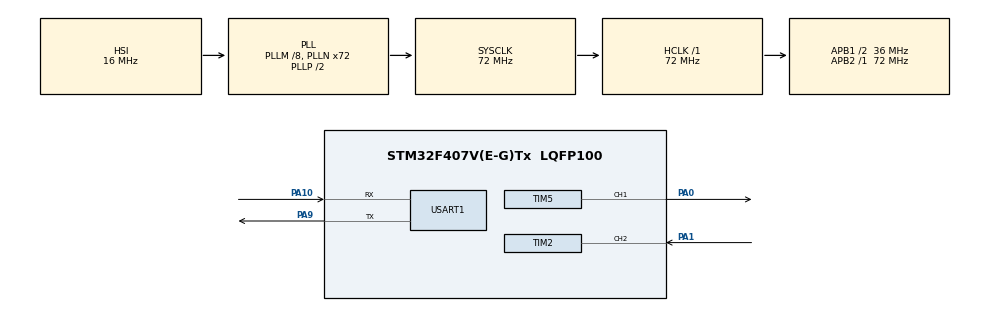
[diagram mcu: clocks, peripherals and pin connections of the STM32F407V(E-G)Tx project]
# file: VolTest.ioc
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Dma.Request0=USART1_RX
Dma.Request1=USART1_TX
Dma.USART1_RX.0.Direction=DMA_PERIPH_TO_MEMORY
Dma.USART1_RX.0.FIFOMode=DMA_FIFOMODE_DISABLE
Dma.USART1_RX.0.Instance=DMA2_Stream2
Dma.USART1_RX.0.MemDataAlignment=DMA_MDATAALIGN_BYTE
Dma.USART1_RX.0.MemInc=DMA_MINC_ENABLE
Dma.USART1_RX.0.Mode=DMA_NORMAL
Dma.USART1_RX.0.PeriphDataAlignment=DMA_PDATAALIGN_BYTE
Dma.USART1_RX.0.PeriphInc=DMA_PINC_DISABLE
Dma.USART1_RX.0.Priority=DMA_PRIORITY_LOW
Dma.USART1_TX.1.Direction=DMA_MEMORY_TO_PERIPH
Dma.USART1_TX.1.FIFOMode=DMA_FIFOMODE_DISABLE
Dma.USART1_TX.1.Instance=DMA2_Stream7
Dma.USART1_TX.1.MemDataAlignment=DMA_MDATAALIGN_BYTE
Dma.USART1_TX.1.MemInc=DMA_MINC_ENABLE
Dma.USART1_TX.1.Mode=DMA_NORMAL
Dma.USART1_TX.1.PeriphDataAlignment=DMA_PDATAALIGN_BYTE
Dma.USART1_TX.1.PeriphInc=DMA_PINC_DISABLE
Dma.USART1_TX.1.Priority=DMA_PRIORITY_LOW
Mcu.Family=STM32F4
Mcu.Name=STM32F407V(E-G)Tx
Mcu.Package=LQFP100
NVIC.DMA2_Stream2_IRQn=true\:0\:0\:false\:false\:true\:false\:true\:true
NVIC.DMA2_Stream7_IRQn=true\:0\:0\:false\:false\:true\:false\:true\:true
NVIC.PriorityGroup=NVIC_PRIORITYGROUP_4
NVIC.TIM2_IRQn=true\:0\:0\:false\:false\:true\:true\:true\:true
NVIC.USART1_IRQn=true\:0\:0\:false\:false\:true\:true\:true\:true
PA0-WKUP.Signal=S_TIM5_CH1
PA1.Signal=S_TIM2_CH2
PA10.Mode=Asynchronous
PA10.Signal=USART1_RX
PA13.Mode=Serial_Wire
PA13.Signal=SYS_JTMS-SWDIO
PA14.Mode=Serial_Wire
PA14.Signal=SYS_JTCK-SWCLK
PA9.Mode=Asynchronous
PA9.Signal=USART1_TX
ProjectManager.HeapSize=0x200
ProjectManager.StackSize=0x400
ProjectManager.TargetToolchain=STM32CubeIDE
RCC.48MHZClocksFreq_Value=36000000
RCC.AHBFreq_Value=72000000
RCC.APB1CLKDivider=RCC_HCLK_DIV2
RCC.APB1Freq_Value=36000000
RCC.APB1TimFreq_Value=72000000
RCC.APB2Freq_Value=72000000
RCC.APB2TimFreq_Value=72000000
RCC.CortexFreq_Value=72000000
RCC.HCLKFreq_Value=72000000
RCC.HSE_VALUE=25000000
RCC.HSI_VALUE=16000000
RCC.LSE_VALUE=32768
RCC.PLLM=8
RCC.PLLN=72
RCC.SYSCLKFreq_VALUE=72000000
RCC.SYSCLKSource=RCC_SYSCLKSOURCE_PLLCLK
RCC.VCOOutputFreq_Value=144000000
SH.S_TIM2_CH2.0=TIM2_CH2,PWM_Input_2
SH.S_TIM5_CH1.0=TIM5_CH1,PWM Generation1 CH1
TIM2.ICPolarity_1=TIM_INPUTCHANNELPOLARITY_FALLING
TIM2.Period=65535
TIM2.Prescaler=72-1
TIM5.Channel-PWM\ Generation1\ CH1=TIM_CHANNEL_1
TIM5.Period=100-1
TIM5.Prescaler=72-1
TIM5.Pulse-PWM\ Generation1\ CH1=50
USART1.VirtualMode=VM_ASYNC
VP_TIM2_VS_ClockSourceINT.Mode=Internal
VP_TIM5_VS_ClockSourceINT.Mode=Internal
board=custom

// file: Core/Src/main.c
/* USER CODE BEGIN Header */
/**
  ******************************************************************************
  * @file           : main.c
  * @brief          : Main program body
  ******************************************************************************
  * @attention
  *
  * Copyright (c) 2024 STMicroelectronics.
  * All rights reserved.
  *
  * This software is licensed under terms that can be found in the LICENSE file
  * in the root directory of this software component.
  * If no LICENSE file comes with this software, it is provided AS-IS.
  *
  ******************************************************************************
  */
/* USER CODE END Header */
#include "main.h"

/* USER CODE BEGIN Includes */
#include <stdio.h>
/* USER CODE END Includes */

TIM_HandleTypeDef htim2;
TIM_HandleTypeDef htim5;

UART_HandleTypeDef huart1;
DMA_HandleTypeDef hdma_usart1_rx;
DMA_HandleTypeDef hdma_usart1_tx;

/* USER CODE BEGIN PV */
uint32_t uiDutyCycle;
uint32_t uiCycle;
uint32_t uiFrequency;

/* USER CODE END PV */

void SystemClock_Config(void);
static void MX_GPIO_Init(void);
static void MX_DMA_Init(void);
static void MX_USART1_UART_Init(void);
static void MX_TIM2_Init(void);
static void MX_TIM5_Init(void);
/* USER CODE BEGIN PFP */
/*
#ifdef __GNUC__									//串口重定�?????
#define PUTCHAR_PROTOTYPE int __io_putchar(int ch)
#else
#define PUTCHAR_PROTOTYPE int fputc(int ch, FILE *f)
#endif
PUTCHAR_PROTOTYPE
{
    HAL_UART_Transmit(&huart1 , (uint8_t *)&ch, 1, 0xFFFF);
    return ch;
}
 */

int fputc(int ch, FILE* fp)
{
	HAL_UART_Transmit(&huart1, (uint8_t *)&ch, 1, HAL_MAX_DELAY);
	return ch;
}

/* USER CODE END PFP */

/* USER CODE BEGIN 0 */
void HAL_TIM_IC_CaptureCallback(TIM_HandleTypeDef *htim)
{
	if(htim->Instance == htim2.Instance)
	{
		switch(htim->Channel)
		{
			case HAL_TIM_ACTIVE_CHANNEL_1:
				uiDutyCycle = HAL_TIM_ReadCapturedValue(htim, TIM_CHANNEL_1);      /* 占空�?? */
				break;
			case HAL_TIM_ACTIVE_CHANNEL_2:
				uiCycle = HAL_TIM_ReadCapturedValue(htim, TIM_CHANNEL_2);          /* 周期 */
				break;
			default:break;
		}
	}
}

/* USER CODE END 0 */

int main(void)
{

  /* MCU Configuration--------------------------------------------------------*/

  /* Reset of all peripherals, Initializes the Flash interface and the Systick. */
  HAL_Init();

  /* Configure the system clock */
  SystemClock_Config();

  /* Initialize all configured peripherals */
  MX_GPIO_Init();
  MX_DMA_Init();
  MX_USART1_UART_Init();
  MX_TIM2_Init();
  MX_TIM5_Init();
  /* USER CODE BEGIN 2 */

  //HAL_TIM_PWM_Start(&htim4, TIM_CHANNEL_1);   /* 使能定时�??4通道1输出PWM�?? */

	HAL_TIM_IC_Start_IT(&htim2, TIM_CHANNEL_1);  /* 使能定时�??2通道1的PWM输入捕获 */
	HAL_TIM_IC_Start_IT(&htim2, TIM_CHANNEL_2);  /* 使能定时�??2通道2的PWM输入捕获 */

	void HAL_TIM_IC_CaptureCallback(TIM_HandleTypeDef *htim)
	{
		if(htim->Instance == htim2.Instance)
		{
			switch(htim->Channel)
			{
				case HAL_TIM_ACTIVE_CHANNEL_1:
					uiDutyCycle = HAL_TIM_ReadCapturedValue(htim, TIM_CHANNEL_1);      /* 占空�?? */
					break;
				case HAL_TIM_ACTIVE_CHANNEL_2:
					uiCycle = HAL_TIM_ReadCapturedValue(htim, TIM_CHANNEL_2);          /* 周期 */
					break;
				default:break;
			}
		}
	}

  /* USER CODE END 2 */

  /* Infinite loop */
  /* USER CODE BEGIN WHILE */

  while (1)
  {
		//HAL_GPIO_TogglePin(LED_GPIO_Port, LED_Pin);
		HAL_Delay(500);
		uiFrequency = 1000000 / uiCycle;
		printf("占空:%dus    周期:%dus    频率:%dHz    \r\n", uiDutyCycle, uiCycle, uiFrequency);
    /* USER CODE END WHILE */

  }
}

void SystemClock_Config(void)
{
  RCC_OscInitTypeDef RCC_OscInitStruct = {0};
  RCC_ClkInitTypeDef RCC_ClkInitStruct = {0};

  /** Configure the main internal regulator output voltage
  */
  __HAL_RCC_PWR_CLK_ENABLE();
  __HAL_PWR_VOLTAGESCALING_CONFIG(PWR_REGULATOR_VOLTAGE_SCALE1);

  /** Initializes the RCC Oscillators according to the specified parameters
  * in the RCC_OscInitTypeDef structure.
  */
  RCC_OscInitStruct.OscillatorType = RCC_OSCILLATORTYPE_HSI;
  RCC_OscInitStruct.HSIState = RCC_HSI_ON;
  RCC_OscInitStruct.HSICalibrationValue = RCC_HSICALIBRATION_DEFAULT;
  RCC_OscInitStruct.PLL.PLLState = RCC_PLL_ON;
  RCC_OscInitStruct.PLL.PLLSource = RCC_PLLSOURCE_HSI;
  RCC_OscInitStruct.PLL.PLLM = 8;
  RCC_OscInitStruct.PLL.PLLN = 72;
  RCC_OscInitStruct.PLL.PLLP = RCC_PLLP_DIV2;
  RCC_OscInitStruct.PLL.PLLQ = 4;
  if (HAL_RCC_OscConfig(&RCC_OscInitStruct) != HAL_OK)
  {
    Error_Handler();
  }

  /** Initializes the CPU, AHB and APB buses clocks
  */
  RCC_ClkInitStruct.ClockType = RCC_CLOCKTYPE_HCLK|RCC_CLOCKTYPE_SYSCLK
                              |RCC_CLOCKTYPE_PCLK1|RCC_CLOCKTYPE_PCLK2;
  RCC_ClkInitStruct.SYSCLKSource = RCC_SYSCLKSOURCE_PLLCLK;
  RCC_ClkInitStruct.AHBCLKDivider = RCC_SYSCLK_DIV1;
  RCC_ClkInitStruct.APB1CLKDivider = RCC_HCLK_DIV2;
  RCC_ClkInitStruct.APB2CLKDivider = RCC_HCLK_DIV1;

  if (HAL_RCC_ClockConfig(&RCC_ClkInitStruct, FLASH_LATENCY_2) != HAL_OK)
  {
    Error_Handler();
  }
}

static void MX_TIM2_Init(void)
{

  TIM_ClockConfigTypeDef sClockSourceConfig = {0};
  TIM_SlaveConfigTypeDef sSlaveConfig = {0};
  TIM_IC_InitTypeDef sConfigIC = {0};
  TIM_MasterConfigTypeDef sMasterConfig = {0};

  htim2.Instance = TIM2;
  htim2.Init.Prescaler = 72-1;
  htim2.Init.CounterMode = TIM_COUNTERMODE_UP;
  htim2.Init.Period = 65535;
  htim2.Init.ClockDivision = TIM_CLOCKDIVISION_DIV1;
  htim2.Init.AutoReloadPreload = TIM_AUTORELOAD_PRELOAD_DISABLE;
  if (HAL_TIM_Base_Init(&htim2) != HAL_OK)
  {
    Error_Handler();
  }
  sClockSourceConfig.ClockSource = TIM_CLOCKSOURCE_INTERNAL;
  if (HAL_TIM_ConfigClockSource(&htim2, &sClockSourceConfig) != HAL_OK)
  {
    Error_Handler();
  }
  if (HAL_TIM_IC_Init(&htim2) != HAL_OK)
  {
    Error_Handler();
  }
  sSlaveConfig.SlaveMode = TIM_SLAVEMODE_RESET;
  sSlaveConfig.InputTrigger = TIM_TS_TI2FP2;
  sSlaveConfig.TriggerPolarity = TIM_INPUTCHANNELPOLARITY_RISING;
  sSlaveConfig.TriggerPrescaler = TIM_ICPSC_DIV1;
  sSlaveConfig.TriggerFilter = 0;
  if (HAL_TIM_SlaveConfigSynchro(&htim2, &sSlaveConfig) != HAL_OK)
  {
    Error_Handler();
  }
  sConfigIC.ICPolarity = TIM_INPUTCHANNELPOLARITY_FALLING;
  sConfigIC.ICSelection = TIM_ICSELECTION_INDIRECTTI;
  sConfigIC.ICPrescaler = TIM_ICPSC_DIV1;
  sConfigIC.ICFilter = 0;
  if (HAL_TIM_IC_ConfigChannel(&htim2, &sConfigIC, TIM_CHANNEL_1) != HAL_OK)
  {
    Error_Handler();
  }
  sConfigIC.ICPolarity = TIM_INPUTCHANNELPOLARITY_RISING;
  sConfigIC.ICSelection = TIM_ICSELECTION_DIRECTTI;
  if (HAL_TIM_IC_ConfigChannel(&htim2, &sConfigIC, TIM_CHANNEL_2) != HAL_OK)
  {
    Error_Handler();
  }
  sMasterConfig.MasterOutputTrigger = TIM_TRGO_RESET;
  sMasterConfig.MasterSlaveMode = TIM_MASTERSLAVEMODE_DISABLE;
  if (HAL_TIMEx_MasterConfigSynchronization(&htim2, &sMasterConfig) != HAL_OK)
  {
    Error_Handler();
  }

}

static void MX_TIM5_Init(void)
{

  TIM_ClockConfigTypeDef sClockSourceConfig = {0};
  TIM_MasterConfigTypeDef sMasterConfig = {0};
  TIM_OC_InitTypeDef sConfigOC = {0};

  htim5.Instance = TIM5;
  htim5.Init.Prescaler = 72-1;
  htim5.Init.CounterMode = TIM_COUNTERMODE_UP;
  htim5.Init.Period = 100-1;
  htim5.Init.ClockDivision = TIM_CLOCKDIVISION_DIV1;
  htim5.Init.AutoReloadPreload = TIM_AUTORELOAD_PRELOAD_DISABLE;
  if (HAL_TIM_Base_Init(&htim5) != HAL_OK)
  {
    Error_Handler();
  }
  sClockSourceConfig.ClockSource = TIM_CLOCKSOURCE_INTERNAL;
  if (HAL_TIM_ConfigClockSource(&htim5, &sClockSourceConfig) != HAL_OK)
  {
    Error_Handler();
  }
  if (HAL_TIM_PWM_Init(&htim5) != HAL_OK)
  {
    Error_Handler();
  }
  sMasterConfig.MasterOutputTrigger = TIM_TRGO_RESET;
  sMasterConfig.MasterSlaveMode = TIM_MASTERSLAVEMODE_DISABLE;
  if (HAL_TIMEx_MasterConfigSynchronization(&htim5, &sMasterConfig) != HAL_OK)
  {
    Error_Handler();
  }
  sConfigOC.OCMode = TIM_OCMODE_PWM1;
  sConfigOC.Pulse = 50;
  sConfigOC.OCPolarity = TIM_OCPOLARITY_HIGH;
  sConfigOC.OCFastMode = TIM_OCFAST_DISABLE;
  if (HAL_TIM_PWM_ConfigChannel(&htim5, &sConfigOC, TIM_CHANNEL_1) != HAL_OK)
  {
    Error_Handler();
  }
  HAL_TIM_MspPostInit(&htim5);

}

static void MX_USART1_UART_Init(void)
{

  huart1.Instance = USART1;
  huart1.Init.BaudRate = 115200;
  huart1.Init.WordLength = UART_WORDLENGTH_8B;
  huart1.Init.StopBits = UART_STOPBITS_1;
  huart1.Init.Parity = UART_PARITY_NONE;
  huart1.Init.Mode = UART_MODE_TX_RX;
  huart1.Init.HwFlowCtl = UART_HWCONTROL_NONE;
  huart1.Init.OverSampling = UART_OVERSAMPLING_16;
  if (HAL_UART_Init(&huart1) != HAL_OK)
  {
    Error_Handler();
  }

}

static void MX_DMA_Init(void)
{

  /* DMA controller clock enable */
  __HAL_RCC_DMA2_CLK_ENABLE();

  /* DMA interrupt init */
  /* DMA2_Stream2_IRQn interrupt configuration */
  HAL_NVIC_SetPriority(DMA2_Stream2_IRQn, 0, 0);
  HAL_NVIC_EnableIRQ(DMA2_Stream2_IRQn);
  /* DMA2_Stream7_IRQn interrupt configuration */
  HAL_NVIC_SetPriority(DMA2_Stream7_IRQn, 0, 0);
  HAL_NVIC_EnableIRQ(DMA2_Stream7_IRQn);

}

static void MX_GPIO_Init(void)
{

  /* GPIO Ports Clock Enable */
  __HAL_RCC_GPIOA_CLK_ENABLE();

}

void Error_Handler(void)
{
  __disable_irq();
  while (1)
  {
  }
}
